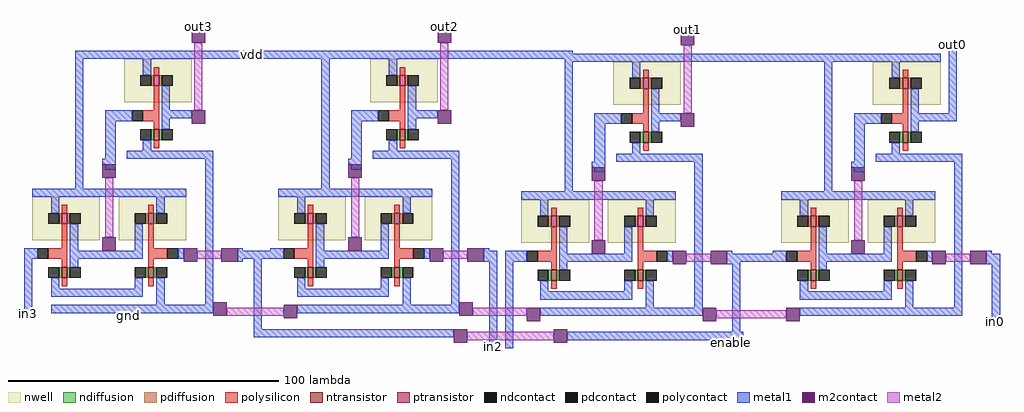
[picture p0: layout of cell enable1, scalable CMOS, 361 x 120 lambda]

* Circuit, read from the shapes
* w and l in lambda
.subckt enable1 enable gnd in0 in1 in2 in3 out0 out1 out2 out3 vdd
M1 AND_0/not_0/in in3 n1 VSUBS nfet w=4 l=2
M2 gnd enable n1 VSUBS nfet w=4 l=2
M3 out3 AND_0/not_0/in gnd VSUBS nfet w=4 l=2
M4 AND_1/not_0/in enable n2 VSUBS nfet w=4 l=2
M5 gnd in2 n2 VSUBS nfet w=4 l=2
M6 out2 AND_1/not_0/in gnd VSUBS nfet w=4 l=2
M7 AND_2/not_0/in in1 n3 VSUBS nfet w=4 l=2
M8 gnd enable n3 VSUBS nfet w=4 l=2
M9 out1 AND_2/not_0/in gnd VSUBS nfet w=4 l=2
M10 AND_3/not_0/in enable n4 VSUBS nfet w=4 l=2
M11 gnd in0 n4 VSUBS nfet w=4 l=2
M12 out0 AND_3/not_0/in gnd VSUBS nfet w=4 l=2
M13 AND_0/not_0/in in3 vdd n5 pfet w=4 l=2
M14 vdd enable AND_0/not_0/in n6 pfet w=4 l=2
M15 out3 AND_0/not_0/in vdd n7 pfet w=4 l=2
M16 AND_1/not_0/in enable vdd n8 pfet w=4 l=2
M17 vdd in2 AND_1/not_0/in n9 pfet w=4 l=2
M18 out2 AND_1/not_0/in vdd n10 pfet w=4 l=2
M19 AND_2/not_0/in in1 vdd n11 pfet w=4 l=2
M20 vdd enable AND_2/not_0/in n12 pfet w=4 l=2
M21 out1 AND_2/not_0/in vdd n13 pfet w=4 l=2
M22 AND_3/not_0/in enable vdd n14 pfet w=4 l=2
M23 vdd in0 AND_3/not_0/in n15 pfet w=4 l=2
M24 out0 AND_3/not_0/in vdd n16 pfet w=4 l=2
.ends

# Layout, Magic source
magic
tech scmos
<< metal1 >>
rect 6 97 11 99
rect 97 97 102 99
rect 187 96 192 98
rect 6 86 54 89
rect 97 88 147 89
rect 97 86 144 88
rect 187 85 240 88
rect 286 66 289 92
rect 283 63 289 66
rect 25 12 35 15
rect -56 -9 -53 12
rect -19 -10 -16 -8
rect 29 -14 32 12
rect 29 -17 103 -14
rect 116 -21 119 15
rect 122 -21 125 15
rect 206 11 221 14
rect 206 -15 209 11
rect 302 -13 305 14
rect 145 -18 210 -15
rect 204 -20 207 -18
<< m2contact >>
rect 6 92 11 97
rect 97 92 102 97
rect 187 91 192 96
rect 6 62 11 67
rect 97 62 102 67
rect 187 61 192 66
rect 14 -9 19 -4
rect 40 -10 45 -5
rect 105 -9 110 -4
rect 103 -19 108 -14
rect 130 -11 135 -6
rect 195 -11 200 -6
rect 140 -19 145 -14
rect 226 -11 231 -6
<< metal2 >>
rect 7 67 10 92
rect 98 67 101 92
rect 188 66 191 91
rect 19 -9 40 -6
rect 110 -9 130 -6
rect 200 -10 226 -7
rect 108 -18 140 -15
use AND  AND_0
transform 1 0 -52 0 1 -9
box -4 1 77 98
use AND  AND_1
transform 1 0 39 0 1 -9
box -4 1 77 98
use AND  AND_2
transform 1 0 129 0 1 -10
box -4 1 77 98
use AND  AND_3
transform 1 0 225 0 1 -10
box -4 1 77 98
<< labels >>
rlabel metal1 -56 -9 -53 -7 3 in3
rlabel metal1 -19 -10 -16 -8 1 gnd
rlabel metal1 116 -21 119 -20 1 in2
rlabel metal1 122 -21 125 -20 1 in1
rlabel metal1 25 86 32 89 5 vdd
rlabel metal1 204 -20 207 -18 1 enable
rlabel metal1 302 -13 305 -9 7 in0
rlabel metal1 286 91 289 92 5 out0
rlabel metal1 187 96 192 98 5 out1
rlabel metal1 97 97 102 99 5 out2
rlabel metal1 6 97 11 99 5 out3
<< end >>

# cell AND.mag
magic
tech scmos
<< metal1 >>
rect 15 95 33 98
rect 15 47 18 95
rect 26 72 34 76
rect 55 73 58 76
rect 26 58 30 72
rect 58 58 66 61
rect 26 54 30 56
rect -4 21 -2 25
rect 63 4 66 58
rect 75 20 77 25
rect 48 1 66 4
<< m2contact >>
rect 55 20 60 25
rect 69 20 75 25
<< metal2 >>
rect 60 21 69 24
use NAND  NAND_0
transform 1 0 -1 0 1 28
box -1 -27 57 30
use not  not_0
transform 1 0 33 0 1 79
box 0 -21 25 19
<< labels >>
rlabel metal1 55 73 58 76 1 out
rlabel metal1 -4 21 -2 25 3 in1
rlabel metal1 75 20 77 25 7 in2
rlabel metal1 48 1 66 4 1 gnd
rlabel metal1 15 95 20 98 5 vdd
<< end >>

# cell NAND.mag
magic
tech scmos
<< nwell >>
rect 0 0 25 16
rect 32 0 57 16
<< ntransistor >>
rect 11 -14 13 -10
rect 43 -14 45 -10
<< ptransistor >>
rect 11 6 13 10
rect 43 6 45 10
<< ndiffusion >>
rect 10 -14 11 -10
rect 13 -14 14 -10
rect 42 -14 43 -10
rect 45 -14 46 -10
<< pdiffusion >>
rect 10 6 11 10
rect 13 6 14 10
rect 42 6 43 10
rect 45 6 46 10
<< ndcontact >>
rect 6 -14 10 -10
rect 14 -14 18 -10
rect 38 -14 42 -10
rect 46 -14 50 -10
<< pdcontact >>
rect 6 6 10 10
rect 14 6 18 10
rect 38 6 42 10
rect 46 6 50 10
<< polysilicon >>
rect 11 10 13 13
rect 43 10 45 13
rect 11 -3 13 6
rect 6 -7 13 -3
rect 11 -10 13 -7
rect 43 -3 45 6
rect 43 -7 50 -3
rect 43 -10 45 -7
rect 11 -17 13 -14
rect 43 -17 45 -14
<< polycontact >>
rect 2 -7 6 -3
rect 50 -7 54 -3
<< metal1 >>
rect 26 28 31 30
rect 0 16 57 19
rect 7 10 10 16
rect 46 10 49 16
rect -1 -7 2 -3
rect 14 -4 17 6
rect 38 -4 41 6
rect 14 -7 41 -4
rect 54 -7 56 -3
rect 14 -10 17 -7
rect 7 -18 10 -14
rect 38 -18 41 -14
rect 7 -21 41 -18
rect 46 -24 49 -14
rect 7 -27 49 -24
<< m2contact >>
rect 26 23 31 28
rect 26 -4 31 1
<< metal2 >>
rect 27 1 30 23
<< labels >>
rlabel metal1 0 16 57 19 5 vdd
rlabel metal1 0 -7 2 -3 3 in1
rlabel metal1 54 -7 56 -3 7 in2
rlabel metal1 26 28 31 30 5 out
rlabel metal1 7 -27 49 -24 1 gnd
<< end >>

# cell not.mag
magic
tech scmos
<< nwell >>
rect 0 0 25 16
<< ntransistor >>
rect 11 -14 13 -10
<< ptransistor >>
rect 11 6 13 10
<< ndiffusion >>
rect 10 -14 11 -10
rect 13 -14 14 -10
<< pdiffusion >>
rect 10 6 11 10
rect 13 6 14 10
<< ndcontact >>
rect 6 -14 10 -10
rect 14 -14 18 -10
<< pdcontact >>
rect 6 6 10 10
rect 14 6 18 10
<< polysilicon >>
rect 11 10 13 13
rect 11 -3 13 6
rect 7 -7 13 -3
rect 11 -10 13 -7
rect 11 -17 13 -14
<< polycontact >>
rect 3 -7 7 -3
<< metal1 >>
rect 0 16 25 19
rect 7 10 10 16
rect 14 -3 17 6
rect 1 -7 3 -3
rect 14 -6 22 -3
rect 14 -10 17 -6
rect 7 -18 10 -14
rect 1 -21 25 -18
<< labels >>
rlabel metal1 0 16 25 19 5 vdd
rlabel metal1 17 -6 22 -3 1 out
rlabel metal1 1 -7 3 -3 3 in
rlabel metal1 1 -21 25 -18 1 gnd
<< end >>
